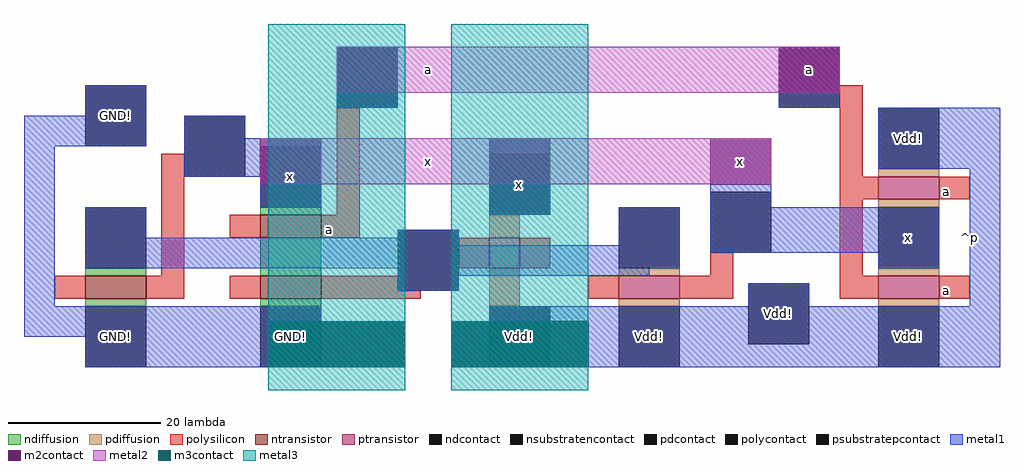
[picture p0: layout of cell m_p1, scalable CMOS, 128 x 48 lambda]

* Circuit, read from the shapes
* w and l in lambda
.subckt m_p1 GND! Vdd! a x
M1 n1 x GND! GND! nfet w=8 l=3
M2 n2 n1 GND! GND! nfet w=8 l=3
M3 x a n2 GND! nfet w=8 l=3
M4 x n1 Vdd! Vdd! pfet w=4 l=4
M5 n1 x Vdd! Vdd! pfet w=8 l=3
M6 x a Vdd! Vdd! pfet w=8 l=3 m=2
.ends

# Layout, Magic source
magic
tech scmos
<< ndiffusion >>
rect -45 49 -37 50
rect -22 57 -14 58
rect -22 49 -14 54
rect -45 45 -37 46
rect -22 45 -14 46
<< pdiffusion >>
rect 59 62 67 63
rect 8 54 12 57
rect 8 45 12 50
rect 25 49 33 50
rect 59 58 67 59
rect 59 49 67 50
rect 25 45 33 46
rect 59 45 67 46
<< ntransistor >>
rect -22 54 -14 57
rect -45 46 -37 49
rect -22 46 -14 49
<< ptransistor >>
rect 8 50 12 54
rect 59 59 67 62
rect 25 46 33 49
rect 59 46 67 49
<< polysilicon >>
rect -35 49 -32 65
rect -12 57 -9 71
rect -26 54 -22 57
rect -14 54 -9 57
rect 54 62 57 74
rect -49 46 -45 49
rect -37 46 -32 49
rect -26 46 -22 49
rect -14 47 -4 49
rect 4 50 8 54
rect 12 50 16 54
rect -14 46 -1 47
rect 54 59 59 62
rect 67 59 71 62
rect 37 49 40 52
rect 21 46 25 49
rect 33 46 40 49
rect 54 49 57 59
rect 54 46 59 49
rect 67 46 71 49
<< ndcontact >>
rect -45 50 -37 58
rect -22 58 -14 66
rect -45 37 -37 45
rect -22 37 -14 45
<< pdcontact >>
rect 8 57 16 65
rect 59 63 67 71
rect 25 50 33 58
rect 59 50 67 58
rect 8 37 16 45
rect 25 37 33 45
rect 59 37 67 45
<< psubstratepcontact >>
rect -45 66 -37 74
<< nsubstratencontact >>
rect 42 40 50 48
<< polycontact >>
rect -12 71 -4 79
rect 46 71 54 79
rect -32 62 -24 70
rect -4 47 4 55
rect 37 52 45 60
<< metal1 >>
rect -45 70 -37 74
rect -12 71 -4 73
rect 46 71 54 73
rect -53 66 -37 70
rect -32 67 -24 70
rect -53 45 -49 66
rect -32 62 -22 67
rect -22 58 -14 61
rect -45 54 -37 58
rect 8 57 16 61
rect 59 63 75 71
rect 37 58 45 61
rect -4 54 4 55
rect -45 53 4 54
rect 25 53 33 58
rect -45 50 33 53
rect 37 52 67 58
rect 59 50 67 52
rect -4 49 29 50
rect -4 47 4 49
rect 42 45 50 48
rect 71 45 75 63
rect -53 43 -14 45
rect 8 43 75 45
rect -53 41 -21 43
rect -45 37 -21 41
rect 21 37 75 43
<< m2contact >>
rect -12 73 -4 79
rect 46 73 54 79
rect -22 61 -14 67
rect 8 61 16 67
rect 37 61 45 67
rect -21 37 -3 43
rect 3 37 21 43
<< metal2 >>
rect -12 73 54 79
rect -22 61 45 67
<< m3contact >>
rect -21 37 -3 43
rect 3 37 21 43
<< metal3 >>
rect -21 34 -3 82
rect 3 34 21 82
<< labels >>
rlabel polysilicon -13 55 -13 55 1 a
rlabel m2contact -18 41 -18 41 1 GND!
rlabel m2contact 12 41 12 41 1 Vdd!
rlabel ndcontact -41 41 -41 41 1 GND!
rlabel metal1 12 61 12 61 1 x
rlabel m2contact -18 62 -18 62 1 x
rlabel metal2 0 73 0 79 3 a
rlabel metal2 0 61 0 67 1 x
rlabel pdcontact 29 41 29 41 1 Vdd!
rlabel polysilicon 68 60 68 60 1 a
rlabel polysilicon 68 47 68 47 1 a
rlabel metal1 63 67 63 67 5 Vdd!
rlabel metal1 63 41 63 41 1 Vdd!
rlabel metal1 63 54 63 54 1 x
rlabel space 66 36 76 72 3 ^p
rlabel metal1 -41 70 -41 70 1 GND!
rlabel metal1 46 44 46 44 1 Vdd!
rlabel metal2 50 76 50 76 1 a
rlabel metal2 41 64 41 64 1 x
<< end >>
